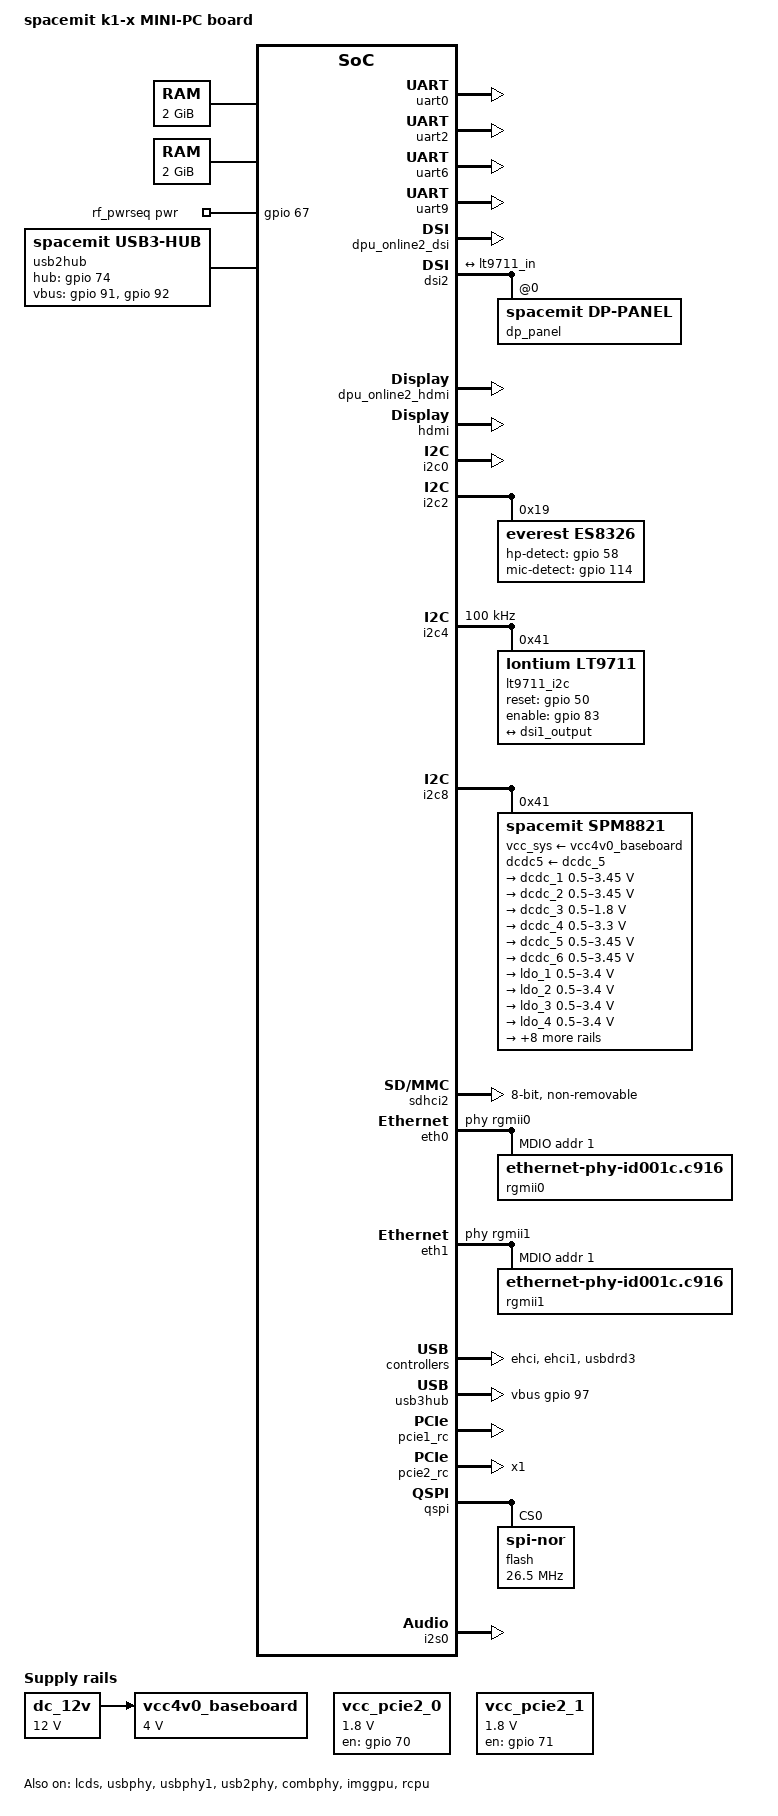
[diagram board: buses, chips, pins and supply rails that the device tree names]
// SPDX-License-Identifier: (GPL-2.0 OR MIT)
/* Copyright (c) 2023 Spacemit, Inc */

/dts-v1/;

#include "k1-x.dtsi"
#include "k1-x-efuse.dtsi"
#include "k1-x_pinctrl.dtsi"
#include "lcd/lcd_lt9711_dp_1920x1080.dtsi"
#include "k1-x-lcd.dtsi"
#include "k1-x-hdmi.dtsi"
#include "k1-x_opp_table.dtsi"
#include "k1-x_thermal_cooling.dtsi"

/ {
	model = "spacemit k1-x MINI-PC board";
	modules_usrload = "8852bs";

	cpus: cpus {
		#address-cells = <1>;
		#size-cells = <0>;
		timebase-frequency = <24000000>;

		cpu_0: cpu@0 {
			cpu-ai = "true";
		};

		cpu_1: cpu@1 {
			cpu-ai = "true";
		};

		cpu_2: cpu@2 {
			reg = <2>;
			cpu-ai = "true";
		};

		cpu_3: cpu@3 {
			reg = <3>;
			cpu-ai = "true";
		};

		cpu-map {
			cluster0 {
				core0 {
					cpu = <&cpu_0>;
				};

				core1 {
					cpu = <&cpu_1>;
				};

				core2 {
					cpu = <&cpu_2>;
				};

				core3 {
					cpu = <&cpu_3>;
				};
			};

			cluster1 {
				core0 {
					cpu = <&cpu_4>;
				};

				core1 {
					cpu = <&cpu_5>;
				};

				core2 {
					cpu = <&cpu_6>;
				};

				core3 {
					cpu = <&cpu_7>;
				};
			};
		};
	};

	memory@0 {
		device_type = "memory";
		reg = <0x0 0x00000000 0x0 0x80000000>;
	};

	memory@100000000 {
		device_type = "memory";
		reg = <0x1 0x00000000 0x0 0x80000000>;
	};

	reserved-memory {
		#address-cells = <2>;
		#size-cells = <2>;
		ranges;

		linux,cma {
			compatible = "shared-dma-pool";
			/* alloc memory from 0x40000000~0x80000000 */
			alloc-ranges = <0 0x40000000 0 0x40000000>;
			/* size of cma buffer is 384MByte */
			size = <0 0x18000000>;
			/* start address is 1Mbyte aligned */
			alignment = <0x0 0x100000>;
			linux,cma-default;
			/* besides hardware, dma for ex. buffer can be used by memory management */
			reusable;
		};

		/* reserved 384K for dpu, including mmu table(256K) and cmdlist(128K) */
		dpu_resv: dpu_reserved@2ff40000 {
			compatible = "shared-dma-pool";
			reg = <0x0 0x2ff40000 0x0 0x000C0000>;
			no-map;
		};
	};

	chosen {
		bootargs = "earlycon=sbi console=ttyS0,115200n8 debug loglevel=8 swiotlb=65536 rdinit=/init";
		stdout-path = "serial0:115200n8";
	};

	dc_12v: dc-12v {
		compatible = "regulator-fixed";
		regulator-name = "dc_12v";
		regulator-always-on;
		regulator-boot-on;
		regulator-min-microvolt = <12000000>;
		regulator-max-microvolt = <12000000>;
	};

	vcc4v0_baseboard: vcc4v0-baseboard {
		compatible = "regulator-fixed";
		regulator-name = "vcc4v0_baseboard";
		regulator-always-on;
		regulator-boot-on;
		regulator-min-microvolt = <4000000>;
		regulator-max-microvolt = <4000000>;
		vin-supply = <&dc_12v>;
	};

	rf_pwrseq: rf-pwrseq {
		compatible = "spacemit,rf-pwrseq";
		//vdd-supply = <&ldo_7>;
		//vdd_voltage = <3300000>;
		io-supply = <&dcdc_3>;
		io_voltage = <1800000>;
		pwr-gpios  = <&gpio 67 0>;
		status = "okay";

		wlan_pwrseq: wlan-pwrseq {
			compatible = "spacemit,wlan-pwrseq";
			regon-gpios = <&gpio 116 0>;
			interrupt-parent = <&pinctrl>;
			interrupts = <268>;
			pinctrl-names = "default";
			pinctrl-0 = <&pinctrl_wlan_wakeup>;
		};

		bt_pwrseq: bt-pwrseq {
			compatible = "spacemit,bt-pwrseq";
			reset-gpios     = <&gpio 63 0>;
		};
	};

	usb2hub: usb2hub {
		compatible = "spacemit,usb3-hub";
		hub-gpios = <&gpio 74 0>;	/* usb2 hub en */
		vbus-gpios = <
			&gpio 91 0
			&gpio 92 0>;	/* for usb2 hub output vbus */
		status = "okay";
	};

	vcc_pcie2_0: vcc-pcie2-0 {
		compatible = "regulator-fixed";
		regulator-name = "vcc_pcie2_0";
		regulator-min-microvolt = <1800000>;
		regulator-max-microvolt = <1800000>;
		enable-active-high;
		gpios = <&gpio 70 0>;
	};

	vcc_pcie2_1: vcc-pcie2-1 {
		compatible = "regulator-fixed";
		regulator-name = "vcc_pcie2_1";
		regulator-min-microvolt = <1800000>;
		regulator-max-microvolt = <1800000>;
		enable-active-high;
		gpios = <&gpio 71 0>;
	};
};

&pinctrl {
	pinctrl-single,gpio-range = <
		&range GPIO_49  2 (MUX_MODE0 | EDGE_NONE | PULL_UP   | PAD_3V_DS4)
		&range GPIO_58  1 (MUX_MODE0 | EDGE_NONE | PULL_UP   | PAD_1V8_DS2)
		&range GPIO_63  2 (MUX_MODE0 | EDGE_NONE | PULL_UP   | PAD_1V8_DS2)
		&range GPIO_65  1 (MUX_MODE0 | EDGE_NONE | PULL_UP   | PAD_1V8_DS2)
		&range GPIO_67  1 (MUX_MODE0 | EDGE_NONE | PULL_UP   | PAD_3V_DS4)
		&range PRI_TDI  2 (MUX_MODE1 | EDGE_NONE | PULL_UP   | PAD_1V8_DS2)
		&range PRI_TCK  1 (MUX_MODE1 | EDGE_NONE | PULL_DOWN | PAD_1V8_DS2)
		&range PRI_TDO  1 (MUX_MODE1 | EDGE_NONE | PULL_UP   | PAD_1V8_DS2)
		&range GPIO_74  1 (MUX_MODE0 | EDGE_NONE | PULL_UP   | PAD_1V8_DS2)
		&range GPIO_80  1 (MUX_MODE0 | EDGE_NONE | PULL_UP   | PAD_3V_DS4)
		&range GPIO_81  3 (MUX_MODE0 | EDGE_NONE | PULL_UP   | PAD_1V8_DS2)
		&range GPIO_90  1 (MUX_MODE0 | EDGE_NONE | PULL_DOWN | PAD_1V8_DS2)
		&range GPIO_91  2 (MUX_MODE0 | EDGE_NONE | PULL_UP   | PAD_1V8_DS2)
		&range DVL0     2 (MUX_MODE1 | EDGE_NONE | PULL_DOWN | PAD_1V8_DS2)
		&range GPIO_110 1 (MUX_MODE0 | EDGE_NONE | PULL_DOWN | PAD_1V8_DS2)
		&range GPIO_114 1 (MUX_MODE0 | EDGE_NONE | PULL_DOWN | PAD_1V8_DS2)
		&range GPIO_115 1 (MUX_MODE0 | EDGE_NONE | PULL_DOWN | PAD_1V8_DS2)
		&range GPIO_116 1 (MUX_MODE0 | EDGE_NONE | PULL_UP   | PAD_1V8_DS2)
		&range GPIO_118 1 (MUX_MODE0 | EDGE_NONE | PULL_UP   | PAD_1V8_DS2)
		&range GPIO_123 1 (MUX_MODE0 | EDGE_NONE | PULL_DOWN | PAD_1V8_DS2)
		&range GPIO_124 1 (MUX_MODE0 | EDGE_NONE | PULL_UP   | PAD_1V8_DS2)
		&range GPIO_125 3 (MUX_MODE0 | EDGE_NONE | PULL_DOWN | PAD_1V8_DS2)
	>;

	pinctrl_rcpu: pinctrl_rcpu_grp {
		pinctrl-single,pins = <
			K1X_PADCONF(GPIO_47,   MUX_MODE1, (EDGE_NONE | PULL_UP | PAD_3V_DS4))	/* r_uart0_tx */
			K1X_PADCONF(GPIO_48,   MUX_MODE1, (EDGE_NONE | PULL_UP | PAD_3V_DS4))	/* r_uart0_rx */
		>;
	};

	pinctrl_wlan_wakeup: wlan_wakeup_grp {
		pinctrl-single,pins =<
			K1X_PADCONF(GPIO_66, MUX_MODE0, (EDGE_FALL | PULL_DOWN | PAD_3V_DS2))   /* wifi edge detect */
		>;
	};
};

&gpio{
	gpio-ranges = <
		&pinctrl 49  GPIO_49  2
		&pinctrl 58  GPIO_58  1
		&pinctrl 63  GPIO_63  3
		&pinctrl 67  GPIO_63  1
		&pinctrl 70  PRI_TDI  4
		&pinctrl 74  GPIO_74  1
		&pinctrl 80  GPIO_80  4
		&pinctrl 90  GPIO_90  3
		&pinctrl 96  DVL0     2
		&pinctrl 110 GPIO_110 1
		&pinctrl 114 GPIO_114 3
		&pinctrl 118 GPIO_118 1
		&pinctrl 123 GPIO_123 5
	>;
};

&uart0 {
	pinctrl-names = "default";
	pinctrl-0 = <&pinctrl_uart0_2>;
	status = "okay";
};

&uart2 {
	pinctrl-names = "default";
	pinctrl-0 = <&pinctrl_uart2>;
	status = "okay";
};

&uart6 {
	pinctrl-names = "default";
	pinctrl-0 = <&pinctrl_uart6_2>;
	status = "okay";
};

&uart9 {
	pinctrl-names = "default";
	pinctrl-0 = <&pinctrl_uart9_2>;
	status = "okay";
};

&pwm14 {
	pinctrl-names = "default";
	pinctrl-0 = <&pinctrl_pwm14_1>;
	status = "disabled";
};

&dpu_online2_dsi {
	memory-region = <&dpu_resv>;
	spacemit-dpu-bitclk = <1000000000>;
	spacemit-dpu-escclk = <76800000>;
	dsi_1v2-supply = <&ldo_5>;
	vin-supply-names = "dsi_1v2";
	status = "okay";
};

&dsi2 {
	force-attached = "lcd_lt9711_dp_1920x1080";
	status = "okay";

	ports {
		#address-cells = <1>;
		#size-cells = <0>;

		port@0 {
			reg = <0>;
			#address-cells = <1>;
			#size-cells = <0>;

			dsi1_output: endpoint@1 {
				reg = <1>;
				remote-endpoint = <&lt9711_in>;
			};
		};
	};

	dp_panel: panel@0 {
			status = "okay";
			compatible = "spacemit,dp-panel";
	};

};

&lcds {
	status = "okay";
};

&dpu_online2_hdmi {
	memory-region = <&dpu_resv>;
	status = "okay";
};

&hdmi{
	pinctrl-names = "default";
	pinctrl-0 = <&pinctrl_hdmi_0>;
	status = "okay";
};

&i2c0 {
	pinctrl-names = "default";
	pinctrl-0 = <&pinctrl_i2c0>;
	spacemit,i2c-fast-mode;
	status = "okay";
};

&i2c1 {
	pinctrl-names = "default";
	pinctrl-0 = <&pinctrl_i2c1>;
	status = "disabled";
};

&i2c2 {
	pinctrl-names = "default";
	pinctrl-0 = <&pinctrl_i2c2_0>;
	spacemit,i2c-fast-mode;
	status = "okay";

	eeprom@50{
		compatible = "atmel,24c02";
		reg = <0x50>;
		#address-cells = <1>;
		#size-cells = <1>;

		power-domains = <&power K1X_PMU_DUMMY_PWR_DOMAIN>;
		status = "disabled";

		mac_address0: mac_address0@0 {
			reg = <0x0 6>;
		};

		mac_address1: mac_address1@6 {
			reg = <0x6 6>;
		};
	};

	es8326: es8326@19{
		compatible = "everest,es8326";
		reg = <0x19>;
		#sound-dai-cells = <0>;
		hp-detect-gpio = <&gpio 58 0>;
		mic-detect-gpio = <&gpio 114 0>;
		everest,mic1-src = [00];
		everest,mic2-src = [00];
		status = "okay";
	};
};

&i2c3 {
	pinctrl-names = "default";
	pinctrl-0 = <&pinctrl_i2c3_2>;
	status = "disabled";
};

&i2c4 {
	pinctrl-names = "default";
	pinctrl-0 = <&pinctrl_i2c4_2>;
	clock-frequency = <100000>;
	status = "okay";

	lt9711_i2c@41 {
		compatible = "lontium,lt9711";
		reg = <0x41>;
		status = "okay";

		reset-gpio = <&gpio 50 0>;
		enable-gpio = <&gpio 83 0>;

		port {
				lt9711_in: endpoint {
					remote-endpoint = <&dsi1_output>;
				};
		};
	};

};

&i2c6 {
	pinctrl-names = "default";
	pinctrl-0 = <&pinctrl_i2c6_2>;
	status = "disabled";
};

&i2c7 {
	pinctrl-names = "default";
	pinctrl-0 = <&pinctrl_i2c7>;
	status = "disabled";
};

&i2c8 {
	pinctrl-names = "default";
	pinctrl-0 = <&pinctrl_i2c8>;
	status = "okay";

	spm8821@41 {
		compatible = "spacemit,spm8821";
		reg = <0x41>;
		interrupt-parent = <&intc>;
		interrupts = <64>;
		status = "okay";

		vcc_sys-supply = <&vcc4v0_baseboard>;
		dcdc5-supply = <&dcdc_5>;

		regulators {
			compatible = "pmic,regulator,spm8821";

			/* buck */
			dcdc_1: DCDC_REG1 {
				regulator-name = "dcdc1";
				regulator-min-microvolt = <500000>;
				regulator-max-microvolt = <3450000>;
				regulator-always-on;

				regulator-state-mem {
					regulator-off-in-suspend;
					regulator-suspend-microvolt = <650000>;
				};
			};

			dcdc_2: DCDC_REG2 {
				regulator-name = "dcdc2";
				regulator-min-microvolt = <500000>;
				regulator-max-microvolt = <3450000>;
				regulator-always-on;
			};

			dcdc_3: DCDC_REG3 {
				regulator-name = "dcdc3";
				regulator-min-microvolt = <500000>;
				regulator-max-microvolt = <1800000>;
				regulator-always-on;
			};

			dcdc_4: DCDC_REG4 {
				regulator-name = "dcdc4";
				regulator-min-microvolt = <500000>;
				regulator-max-microvolt = <3300000>;
				regulator-always-on;
				regulator-state-mem {
					regulator-off-in-suspend;
					regulator-suspend-microvolt = <3300000>;
				};
			};

			dcdc_5: DCDC_REG5 {
				regulator-name = "dcdc5";
				regulator-min-microvolt = <500000>;
				regulator-max-microvolt = <3450000>;
				regulator-always-on;
			};

			dcdc_6: DCDC_REG6 {
				regulator-name = "dcdc6";
				regulator-min-microvolt = <500000>;
				regulator-max-microvolt = <3450000>;
				regulator-always-on;
			};

			/* aldo */
			ldo_1: LDO_REG1 {
				regulator-name = "ldo1";
				regulator-min-microvolt = <500000>;
				regulator-max-microvolt = <3400000>;
				regulator-always-on;

				regulator-state-mem {
					regulator-off-in-suspend;
					regulator-suspend-microvolt = <500000>;
				};
			};

			ldo_2: LDO_REG2 {
				regulator-name = "ldo2";
				regulator-min-microvolt = <500000>;
				regulator-max-microvolt = <3400000>;

				regulator-state-mem {
					regulator-off-in-suspend;
					regulator-suspend-microvolt = <500000>;
				};
			};

			ldo_3: LDO_REG3 {
				regulator-name = "ldo3";
				regulator-min-microvolt = <500000>;
				regulator-max-microvolt = <3400000>;

				regulator-state-mem {
					regulator-off-in-suspend;
					regulator-suspend-microvolt = <500000>;
				};
			};

			ldo_4: LDO_REG4 {
				regulator-name = "ldo4";
				regulator-min-microvolt = <500000>;
				regulator-max-microvolt = <3400000>;

				regulator-state-mem {
					regulator-off-in-suspend;
					regulator-suspend-microvolt = <500000>;
				};
			};

			/* dldo */
			ldo_5: LDO_REG5 {
				regulator-name = "ldo5";
				regulator-min-microvolt = <500000>;
				regulator-max-microvolt = <3400000>;
				regulator-boot-on;

				regulator-state-mem {
					regulator-off-in-suspend;
					regulator-suspend-microvolt = <500000>;
				};
			};

			ldo_6: LDO_REG6 {
				regulator-name = "ldo6";
				regulator-min-microvolt = <500000>;
				regulator-max-microvolt = <3400000>;

				regulator-state-mem {
					regulator-off-in-suspend;
					regulator-suspend-microvolt = <500000>;
				};
			};

			ldo_7: LDO_REG7 {
				regulator-name = "ldo7";
				regulator-min-microvolt = <500000>;
				regulator-max-microvolt = <3400000>;

				regulator-state-mem {
					regulator-off-in-suspend;
					regulator-suspend-microvolt = <500000>;
				};
			};

			ldo_8: LDO_REG8 {
				regulator-name = "ldo8";
				regulator-min-microvolt = <500000>;
				regulator-max-microvolt = <3400000>;
				regulator-always-on;
			};

			ldo_9: LDO_REG9 {
				regulator-name = "ldo9";
				regulator-min-microvolt = <500000>;
				regulator-max-microvolt = <3400000>;
			};

			ldo_10: LDO_REG10 {
				regulator-name = "ldo10";
				regulator-min-microvolt = <500000>;
				regulator-max-microvolt = <3400000>;
				regulator-always-on;
			};

			ldo_11: LDO_REG11 {
				regulator-name = "ldo11";
				regulator-min-microvolt = <500000>;
				regulator-max-microvolt = <3400000>;
			};

			sw_1: SWITCH_REG1 {
				regulator-name = "switch1";
			};
		};

		pmic_pinctrl: pinctrl {
			compatible = "pmic,pinctrl,spm8821";
			gpio-controller;
			#gpio-cells = <2>;
			spacemit,npins = <6>;
/**
 *			led_pins: led-pins {
 *				pins = "PIN3";
 *				function = "sleep";
 *				bias-disable = <0>;
 *				drive-open-drain = <0x1>;
 *			};
 */
		};

		pwr_key: key {
			compatible = "pmic,pwrkey,spm8821";
		};

		ext_rtc: rtc {
			compatible = "pmic,rtc,spm8821";
		};
	};
};

/* eMMC */
&sdhci2 {
	bus-width = <8>;
	non-removable;
	mmc-hs400-1_8v;
	mmc-hs400-enhanced-strobe;
	no-sd;
	no-sdio;
	spacemit,sdh-quirks = <(
			SDHCI_QUIRK_BROKEN_CARD_DETECTION |
			SDHCI_QUIRK_BROKEN_TIMEOUT_VAL
			)>;
	spacemit,sdh-quirks2 = <(
			SDHCI_QUIRK2_PRESET_VALUE_BROKEN
			)>;
	spacemit,sdh-freq = <375000000>;
	status = "okay";
};

&eth0 {
	pinctrl-names = "default";
	pinctrl-0 = <&pinctrl_gmac0>;

	emac,reset-gpio = <&gpio 110 0>;
	emac,reset-active-low;
	emac,reset-delays-us = <0 10000 100000>;

	/* store forward mode */
	tx-threshold = <1518>;
	rx-threshold = <12>;
	tx-ring-num = <1024>;
	rx-ring-num = <1024>;
	dma-burst-len = <5>;

	ref-clock-from-phy;

	clk-tuning-enable;
	clk-tuning-by-delayline;
	tx-phase = <90>;
	rx-phase = <73>;

	nvmem-cells = <&mac_address0>;
	nvmem-cell-names = "mac-address";

	phy-handle = <&rgmii0>;

	status = "okay";

	mdio-bus {
		#address-cells = <0x1>;
		#size-cells = <0x0>;
		rgmii0: phy@0 {
			compatible = "ethernet-phy-id001c.c916";
			device_type = "ethernet-phy";
			reg = <0x1>;
			phy-mode = "rgmii";
		};
	};
};

&eth1 {
	pinctrl-names = "default";
	pinctrl-0 = <&pinctrl_gmac1>;

	emac,reset-gpio = <&gpio 115 0>;
	emac,reset-active-low;
	emac,reset-delays-us = <0 10000 100000>;

	/* store forward mode */
	tx-threshold = <1518>;
	rx-threshold = <12>;
	tx-ring-num = <1024>;
	rx-ring-num = <1024>;
	dma-burst-len = <5>;

	ref-clock-from-phy;

	clk-tuning-enable;
	clk-tuning-by-delayline;
	tx-phase = <90>;
	rx-phase = <73>;
	nvmem-cells = <&mac_address1>;
	nvmem-cell-names = "mac-address";

	phy-handle = <&rgmii1>;

	status = "okay";

	mdio-bus {
		#address-cells = <0x1>;
		#size-cells = <0x0>;
		rgmii1: phy@1 {
			compatible = "ethernet-phy-id001c.c916";
			device_type = "ethernet-phy";
			reg = <0x1>;
			phy-mode = "rgmii";
		};
	};
};

&usbphy {
	status = "okay";
};

&ehci {
	spacemit,udc-mode = <MV_USB_MODE_HOST>;
	spacemit,reset-on-resume;
	status = "okay";
};

&usbphy1 {
	status = "okay";
};

&ehci1 {
	spacemit,reset-on-resume;
	status = "okay";
};

&usb2phy {
	status = "okay";
};

&combphy {
	status = "okay";
};

&usb3hub {
	hub-gpios = <
		&gpio 123 0	/* usb3 hub en */
		&gpio 124 0>;	/* usb3 hub rst*/
	vbus-gpios = <&gpio 97 0>;	/* gpio_97 for usb3 hub output vbus */
	status = "okay";
};

&usbdrd3 {
	status = "okay";
	reset-on-resume;
	dwc3@c0a00000 {
		dr_mode = "host";
		phy_type = "utmi";
		snps,hsphy_interface = "utmi";
		snps,dis_enblslpm_quirk;
		snps,dis_u2_susphy_quirk;
		snps,dis_u3_susphy_quirk;
		snps,dis-del-phy-power-chg-quirk;
		snps,dis-tx-ipgap-linecheck-quirk;
		snps,parkmode-disable-ss-quirk;
	};
};

&pcie1_rc {
	pinctrl-names = "default";
	pinctrl-0 = <&pinctrl_pcie1_3>;
	status = "okay";
};

&pcie2_rc {
	pinctrl-names = "default";
	pinctrl-0 = <&pinctrl_pcie2_4>;
	num-lanes = <1>;
	pcie2_0-supply = <&vcc_pcie2_0>;
	pcie2_1-supply = <&vcc_pcie2_1>;
	vin-supply-names = "pcie2_0", "pcie2_1";
	status = "okay";
};

&imggpu {
	status = "okay";
};

&qspi {
	pinctrl-names = "default";
	pinctrl-0 = <&pinctrl_qspi>;
	status = "okay";

	flash@0 {
		compatible = "jedec,spi-nor";
		reg = <0>;
		spi-max-frequency = <26500000>;
		m25p,fast-read;
		broken-flash-reset;
		status = "okay";
	};
};

&rcpu {
	pinctrl-names = "default";
	pinctrl-0 = <&pinctrl_rcpu>;
	mboxes = <&mailbox 0>, <&mailbox 1>;
	mbox-names = "vq0", "vq1";
	memory-region = <&rcpu_mem_0>, <&vdev0vring0>, <&vdev0vring1>, <&vdev0buffer>, <&rsc_table>, <&rcpu_mem_snapshots>;
	status = "okay";
};

&i2s0 {
	pinctrl-names = "default";
	pinctrl-0 = <&pinctrl_sspa0_0>;
	status = "okay";
};

&sound_hdmi {
	status = "okay";
};

&sound_codec {
	status = "okay";
	simple-audio-card,name = "snd-es8326";
	spacemit,mclk-fs = <64>;
	simple-audio-card,codec {
		sound-dai = <&es8326>;
	};
};
